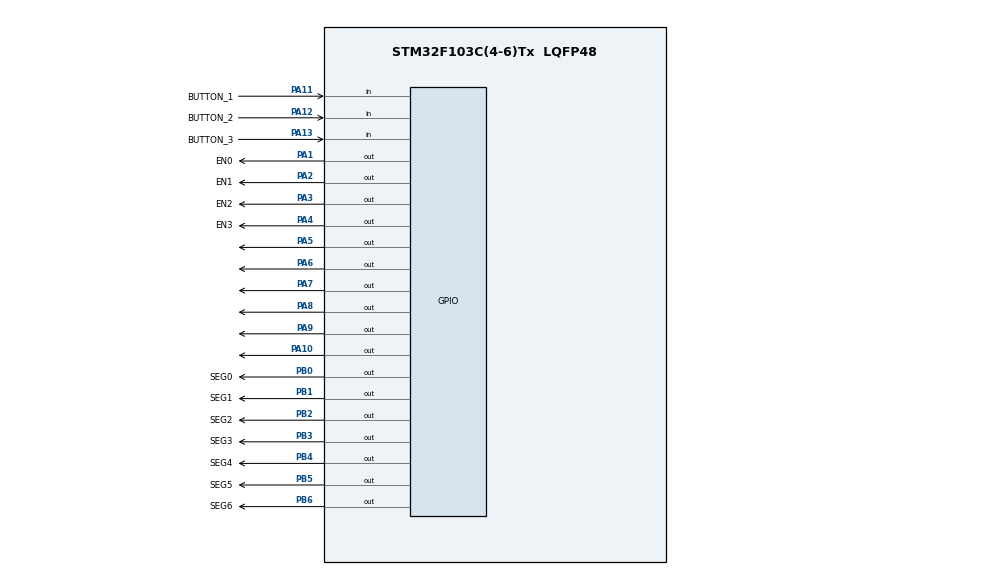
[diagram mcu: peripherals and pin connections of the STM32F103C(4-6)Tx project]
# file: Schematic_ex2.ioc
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Mcu.Family=STM32F1
Mcu.Name=STM32F103C(4-6)Tx
Mcu.Package=LQFP48
NVIC.PriorityGroup=NVIC_PRIORITYGROUP_4
NVIC.TIM2_IRQn=true\:0\:0\:false\:false\:true\:true\:true
PA1.GPIO_Label=EN0
PA1.PinState=GPIO_PIN_SET
PA1.Signal=GPIO_Output
PA10.PinState=GPIO_PIN_SET
PA10.Signal=GPIO_Output
PA11.GPIO_Label=BUTTON_1
PA11.Signal=GPIO_Input
PA12.GPIO_Label=BUTTON_2
PA12.Signal=GPIO_Input
PA13.GPIO_Label=BUTTON_3
PA13.Signal=GPIO_Input
PA2.GPIO_Label=EN1
PA2.PinState=GPIO_PIN_SET
PA2.Signal=GPIO_Output
PA3.GPIO_Label=EN2
PA3.PinState=GPIO_PIN_SET
PA3.Signal=GPIO_Output
PA4.GPIO_Label=EN3
PA4.PinState=GPIO_PIN_SET
PA4.Signal=GPIO_Output
PA5.PinState=GPIO_PIN_SET
PA5.Signal=GPIO_Output
PA6.PinState=GPIO_PIN_SET
PA6.Signal=GPIO_Output
PA7.PinState=GPIO_PIN_SET
PA7.Signal=GPIO_Output
PA8.PinState=GPIO_PIN_SET
PA8.Signal=GPIO_Output
PA9.PinState=GPIO_PIN_SET
PA9.Signal=GPIO_Output
PB0.GPIO_Label=SEG0
PB0.Signal=GPIO_Output
PB1.GPIO_Label=SEG1
PB1.Signal=GPIO_Output
PB2.GPIO_Label=SEG2
PB2.Signal=GPIO_Output
PB3.GPIO_Label=SEG3
PB3.Signal=GPIO_Output
PB4.GPIO_Label=SEG4
PB4.Signal=GPIO_Output
PB5.GPIO_Label=SEG5
PB5.Signal=GPIO_Output
PB6.GPIO_Label=SEG6
PB6.Signal=GPIO_Output
ProjectManager.HeapSize=0x200
ProjectManager.StackSize=0x400
ProjectManager.TargetToolchain=STM32CubeIDE
RCC.APB1Freq_Value=8000000
RCC.APB2Freq_Value=8000000
TIM2.Period=9
TIM2.Prescaler=7999
VP_SYS_VS_ND.Mode=No_Debug
VP_TIM2_VS_ClockSourceINT.Mode=Internal
board=custom

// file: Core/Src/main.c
/* USER CODE BEGIN Header */
/**
  ******************************************************************************
  * @file           : main.c
  * @brief          : Main program body
  ******************************************************************************
  * @attention
  *
  * <h2><center>&copy; Copyright (c) 2026 STMicroelectronics.
  * All rights reserved.</center></h2>
  *
  * This software component is licensed by ST under BSD 3-Clause license,
  * the "License"; You may not use this file except in compliance with the
  * License. You may obtain a copy of the License at:
  *                        opensource.org/licenses/BSD-3-Clause
  *
  ******************************************************************************
  */
/* USER CODE END Header */
#include "main.h"

/* USER CODE BEGIN Includes */
#include "timer.h"
#include "input_reading.h"
#include "led_display.h"
#include "input_processing.h"
#include "mode_display.h"
#include "traffic_setting.h"
#include "traffic_light_fsm.h"
/* USER CODE END Includes */

TIM_HandleTypeDef htim2;

void SystemClock_Config(void);
static void MX_GPIO_Init(void);
static void MX_TIM2_Init(void);

int main(void)
{

  /* MCU Configuration--------------------------------------------------------*/

  /* Reset of all peripherals, Initializes the Flash interface and the Systick. */
  HAL_Init();

  /* Configure the system clock */
  SystemClock_Config();

  /* Initialize all configured peripherals */
  MX_GPIO_Init();
  MX_TIM2_Init();
  /* USER CODE BEGIN 2 */
  HAL_TIM_Base_Start_IT(&htim2);
  turnOffAllTrafficLeds();
  update7SEG_Buffer(0, mode);
  setTimer(1, 50); // Khởi động Timer 1 để quét LED 7 đoạn mỗi 50ms
  setTimer(2, 250);
  switch_mode();
  /* USER CODE END 2 */

  /* Infinite loop */
  /* USER CODE BEGIN WHILE */
  while (1)
  {
	  fsm_for_input_processing(); //ex5
	  traffic_setting_update(); //ex7 - ex8 - ex9;
	  switch_mode(); //ex6
	  traffic_light_update(); //ex10

	  //quet led 7 doan
	  if (isTimerExpired(1)) {
	      setTimer(1, 50);
	      scan7SEG();
	  }
    /* USER CODE END WHILE */

  }
}

void SystemClock_Config(void)
{
  RCC_OscInitTypeDef RCC_OscInitStruct = {0};
  RCC_ClkInitTypeDef RCC_ClkInitStruct = {0};

  /** Initializes the RCC Oscillators according to the specified parameters
  * in the RCC_OscInitTypeDef structure.
  */
  RCC_OscInitStruct.OscillatorType = RCC_OSCILLATORTYPE_HSI;
  RCC_OscInitStruct.HSIState = RCC_HSI_ON;
  RCC_OscInitStruct.HSICalibrationValue = RCC_HSICALIBRATION_DEFAULT;
  RCC_OscInitStruct.PLL.PLLState = RCC_PLL_NONE;
  if (HAL_RCC_OscConfig(&RCC_OscInitStruct) != HAL_OK)
  {
    Error_Handler();
  }
  /** Initializes the CPU, AHB and APB buses clocks
  */
  RCC_ClkInitStruct.ClockType = RCC_CLOCKTYPE_HCLK|RCC_CLOCKTYPE_SYSCLK
                              |RCC_CLOCKTYPE_PCLK1|RCC_CLOCKTYPE_PCLK2;
  RCC_ClkInitStruct.SYSCLKSource = RCC_SYSCLKSOURCE_HSI;
  RCC_ClkInitStruct.AHBCLKDivider = RCC_SYSCLK_DIV1;
  RCC_ClkInitStruct.APB1CLKDivider = RCC_HCLK_DIV1;
  RCC_ClkInitStruct.APB2CLKDivider = RCC_HCLK_DIV1;

  if (HAL_RCC_ClockConfig(&RCC_ClkInitStruct, FLASH_LATENCY_0) != HAL_OK)
  {
    Error_Handler();
  }
}

static void MX_TIM2_Init(void)
{

  TIM_ClockConfigTypeDef sClockSourceConfig = {0};
  TIM_MasterConfigTypeDef sMasterConfig = {0};

  htim2.Instance = TIM2;
  htim2.Init.Prescaler = 7999;
  htim2.Init.CounterMode = TIM_COUNTERMODE_UP;
  htim2.Init.Period = 9;
  htim2.Init.ClockDivision = TIM_CLOCKDIVISION_DIV1;
  htim2.Init.AutoReloadPreload = TIM_AUTORELOAD_PRELOAD_DISABLE;
  if (HAL_TIM_Base_Init(&htim2) != HAL_OK)
  {
    Error_Handler();
  }
  sClockSourceConfig.ClockSource = TIM_CLOCKSOURCE_INTERNAL;
  if (HAL_TIM_ConfigClockSource(&htim2, &sClockSourceConfig) != HAL_OK)
  {
    Error_Handler();
  }
  sMasterConfig.MasterOutputTrigger = TIM_TRGO_RESET;
  sMasterConfig.MasterSlaveMode = TIM_MASTERSLAVEMODE_DISABLE;
  if (HAL_TIMEx_MasterConfigSynchronization(&htim2, &sMasterConfig) != HAL_OK)
  {
    Error_Handler();
  }

}

static void MX_GPIO_Init(void)
{
  GPIO_InitTypeDef GPIO_InitStruct = {0};

  /* GPIO Ports Clock Enable */
  __HAL_RCC_GPIOA_CLK_ENABLE();
  __HAL_RCC_GPIOB_CLK_ENABLE();

  /*Configure GPIO pin Output Level */
  HAL_GPIO_WritePin(GPIOA, EN0_Pin|EN1_Pin|EN2_Pin|EN3_Pin
                          |GPIO_PIN_5|GPIO_PIN_6|GPIO_PIN_7|GPIO_PIN_8
                          |GPIO_PIN_9|GPIO_PIN_10, GPIO_PIN_SET);

  /*Configure GPIO pin Output Level */
  HAL_GPIO_WritePin(GPIOB, SEG0_Pin|SEG1_Pin|SEG2_Pin|SEG3_Pin
                          |SEG4_Pin|SEG5_Pin|SEG6_Pin, GPIO_PIN_RESET);

  /*Configure GPIO pins : EN0_Pin EN1_Pin EN2_Pin EN3_Pin
                           PA5 PA6 PA7 PA8
                           PA9 PA10 */
  GPIO_InitStruct.Pin = EN0_Pin|EN1_Pin|EN2_Pin|EN3_Pin
                          |GPIO_PIN_5|GPIO_PIN_6|GPIO_PIN_7|GPIO_PIN_8
                          |GPIO_PIN_9|GPIO_PIN_10;
  GPIO_InitStruct.Mode = GPIO_MODE_OUTPUT_PP;
  GPIO_InitStruct.Pull = GPIO_NOPULL;
  GPIO_InitStruct.Speed = GPIO_SPEED_FREQ_LOW;
  HAL_GPIO_Init(GPIOA, &GPIO_InitStruct);

  /*Configure GPIO pins : SEG0_Pin SEG1_Pin SEG2_Pin SEG3_Pin
                           SEG4_Pin SEG5_Pin SEG6_Pin */
  GPIO_InitStruct.Pin = SEG0_Pin|SEG1_Pin|SEG2_Pin|SEG3_Pin
                          |SEG4_Pin|SEG5_Pin|SEG6_Pin;
  GPIO_InitStruct.Mode = GPIO_MODE_OUTPUT_PP;
  GPIO_InitStruct.Pull = GPIO_NOPULL;
  GPIO_InitStruct.Speed = GPIO_SPEED_FREQ_LOW;
  HAL_GPIO_Init(GPIOB, &GPIO_InitStruct);

  /*Configure GPIO pins : BUTTON_1_Pin BUTTON_2_Pin BUTTON_3_Pin */
  GPIO_InitStruct.Pin = BUTTON_1_Pin|BUTTON_2_Pin|BUTTON_3_Pin;
  GPIO_InitStruct.Mode = GPIO_MODE_INPUT;
  GPIO_InitStruct.Pull = GPIO_NOPULL;
  HAL_GPIO_Init(GPIOA, &GPIO_InitStruct);

}

void Error_Handler(void)
{
  __disable_irq();
  while (1)
  {
  }
}

/************************ (C) COPYRIGHT STMicroelectronics *****END OF FILE****/
